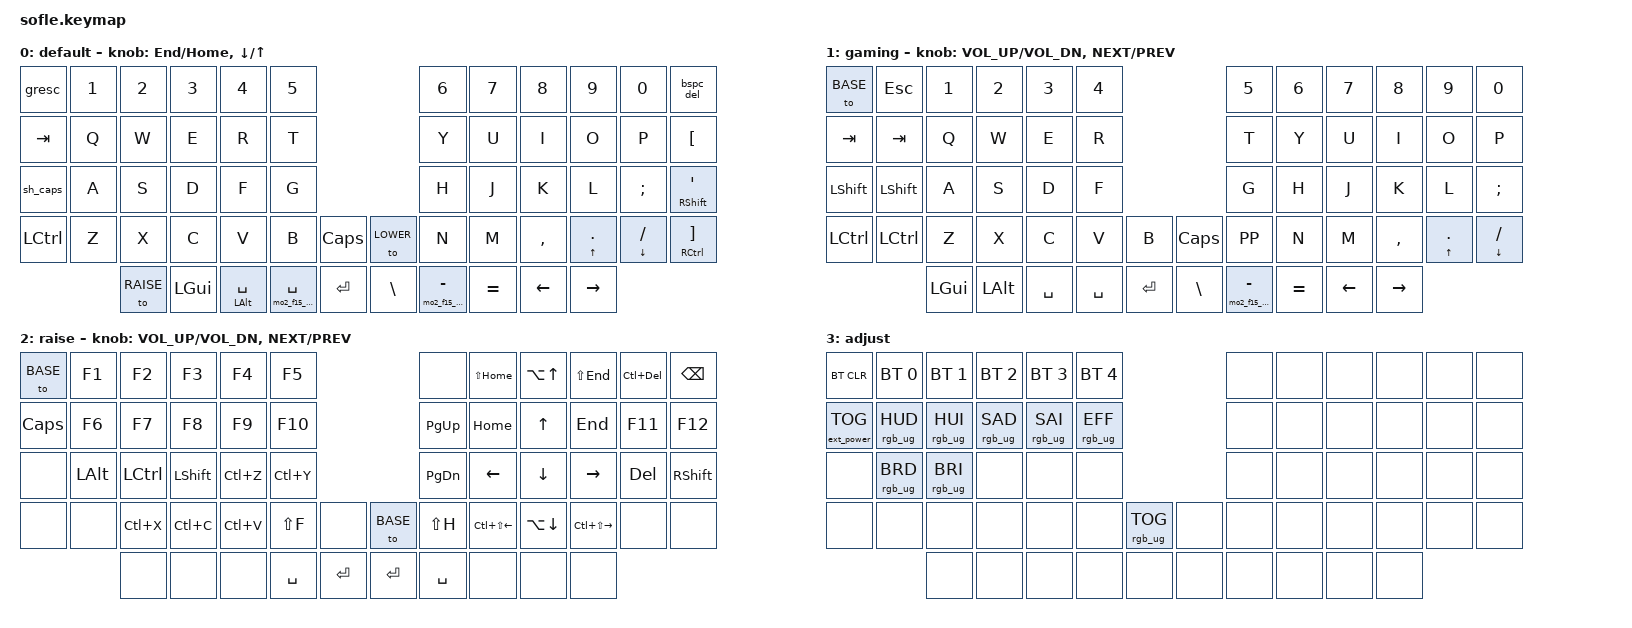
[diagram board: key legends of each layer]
/*
 * Copyright (c) 2020 The ZMK Contributors
 *
 * SPDX-License-Identifier: MIT
 */

#include <behaviors.dtsi>
#include <dt-bindings/zmk/bt.h>
#include <dt-bindings/zmk/ext_power.h>
#include <dt-bindings/zmk/keys.h>
#include <dt-bindings/zmk/rgb.h>

#define BASE 0
#define LOWER 1
#define RAISE 2
#define ADJUST 3

// Using layer taps on thumbs, having quick tap as well helps w/ repeating space/backspace
&lt { quick-tap-ms = <200>; };

// TODO: use &lt instead of lt1 space macro just to get mo and key press at same time
// The "layer-tap" behavior enables a layer when a key is held, and 
// outputs a key press when the key is only tapped for a short time.


/ {
    // Activate ADJUST layer by pressing raise and lower
    conditional_layers {
        compatible = "zmk,conditional-layers";

        adjust_layer {
            if-layers = <LOWER RAISE>;
            then-layer = <ADJUST>;
        };
    };

    macros {
        // used in a hold-tap behaviour below 
        // to send a normal key when tapped 
        // but sends this macro on hold
        mo1_f14_macro: mo1_f14_macro {
            compatible = "zmk,behavior-macro";
            #binding-cells = <0>;
            bindings = 
                <&macro_press &mo LOWER>,
                <&macro_press &kp F14>,
                <&macro_pause_for_release>,
                <&macro_release &kp F14>,
                <&macro_release &mo LOWER>;
            label = "MO1_F14";
        };

        mo2_f15_macro: mo2_f15_macro {
            compatible = "zmk,behavior-macro";
            #binding-cells = <0>;
            bindings = 
                <&macro_press &mo RAISE>,
                <&macro_press &kp F15>,
                <&macro_pause_for_release>,
                <&macro_release &kp F15>,
                <&macro_release &mo RAISE>;
            label = "MO2_F15";
        };


        mo1_f14_taponce: mo1_f14_taponce {
            compatible = "zmk,behavior-macro";
            #binding-cells = <0>;
            bindings = 
                <&macro_press &mo LOWER>,
                <&macro_tap &kp F14>,
                <&macro_pause_for_release>,
                <&macro_release &mo LOWER>,
                <&macro_tap &kp F14>;
            label = "MO1_F14_taponce";
        };

        mo2_f15_taponce: mo2_f15_taponce {
            compatible = "zmk,behavior-macro";
            #binding-cells = <0>;
            bindings = 
                <&macro_press &mo RAISE>,
                <&macro_tap &kp F15>,
                <&macro_pause_for_release>,
                <&macro_release &mo RAISE>,
                <&macro_tap &kp F15>;
            label = "MO2_F15_toggle";
        };
    };

    behaviors {
        lt1_sp: layer1_tap_space_macro {
            compatible = "zmk,behavior-hold-tap";
            label = "LT1_SPACE";
            #binding-cells = <2>;
            flavor = "tap-preferred";     // Prioritize tap for quick presses
            tapping-term-ms = <200>;      // 200ms threshold for tap vs. hold
            quick-tap-ms = <125>;         // Prevent hold on fast double-taps
            global-quick-tap;
            bindings = <&mo1_f14_macro>, <&kp>;  // Hold: macro, Tap: keypress
        };

        lt2_sp: layer2_tap_space_macro {
            compatible = "zmk,behavior-hold-tap";
            label = "LT2_SPACE";
            #binding-cells = <2>;
            flavor = "tap-preferred";
            tapping-term-ms = <200>;
            quick-tap-ms = <125>;
            global-quick-tap;
            bindings = <&mo2_f15_macro>, <&kp>;
        };
        
        // BACKSPACE by default but SHIFT+BACKSPACE=DELETE
        bspc_del: backspace_delete {
            compatible = "zmk,behavior-mod-morph";
            #binding-cells = <0>;
            bindings = <&kp BACKSPACE>, <&kp DELETE>;
            mods = <(MOD_LSFT|MOD_RSFT)>;
            keep-mods = <(MOD_RSFT)>;
        };
        
        // CAPSLOCK on a single tap, 
        // LSHIFT on a single press and hold, and 
        // LCTRL when the tap-dance is pressed twice.
        td_mt: tap_dance_mod_tap {
            compatible = "zmk,behavior-tap-dance";
            #binding-cells = <0>;
            tapping-term-ms = <200>;
            bindings = <&mt LSHIFT CAPSLOCK>, <&kp LCTRL>;
        };

        /*
        - tap: sticky shift
        - double-tap: caps-word (shift + tap mod-morph)
        - hold: shift

        From: https://github.com/urob/zmk-config/
        */
        smart_shift: smart_shift {
            compatible = "zmk,behavior-mod-morph";
            bindings = <&sk LSHFT>, <&caps_word>;
            mods = <(MOD_LSFT)>;
            #binding-cells = <0>;
        };

        // For the "layer" key, it'd nice to be able to use it as either a momentary or a toggle.
        // Configure it as a tap dance, so the first tap (or hold) is a &mo and the second tap is a &to
        layer_td: layer_td {
            compatible = "zmk,behavior-tap-dance";
            #binding-cells = <0>;
            tapping-term-ms = <200>;
            bindings = <&mo RAISE>, <&to RAISE>;
        };

        // Single tap or hold triggers lt2 space macro
        // double tap should permanently toggle RAISE layer
        ltd_lt2_sp: ltd_lt2_sp {
            label = "LTD_LT2_SPACE";
            compatible = "zmk,behavior-tap-dance";
            #binding-cells = <0>;
            tapping-term-ms = <200>;
            bindings = <&lt2_sp 0 SPACE>, <&to RAISE>;
        };

        // Single tap or hold triggers shift
        // double tap triggers caps
        sh_caps: shift_caps_td {
            label = "shift_caps_td";
            compatible = "zmk,behavior-tap-dance";
            #binding-cells = <0>;
            tapping-term-ms = <200>;
            bindings = <&kp LSHFT>, <&kp CAPS>;
        };

        hm: homerow_mods {
            compatible = "zmk,behavior-hold-tap";
            #binding-cells = <2>;
            tapping-term-ms = <200>;
            flavor = "tap-preferred";
            bindings = <&kp>, <&kp>;
        };

    };

    keymap {
        compatible = "zmk,keymap";

        default_layer {
            display-name = "default";

                // ----------------------------------------------------------------------------------------------------------------------------------------------------
                // | GRAVE/ESC  |  1  |  2  |  3  |  4  |  5   |                                            |   6   |   7   |  8   |   9   |  0      | BKSPC/DEL MACRO|
                // |MT CAPS/TAB |  Q  |  W  |  E  |  R  |  T   |                                            |   Y   |   U   |  I   |   O   |  P      |       [        |
                // | SK SHIFT   |  A  |  S  |  D  |  F  |  G   |                                            |   H   |   J   |  K   |   L   |  ;      | MT SHIFT '     |
                // |  CTRL      |  Z  |  X  |  C  |  V  |  B   | CAPS |                          |PLAY/PAUSE|   N   |   M   |  ,   |MT UP. |MT DOWN/ | MT CTRL ]      |
                //                 | RAISE | GUI | MT ALT/SPACE|LT2_SP|                          |   ENTER  |   \   |LT2 -_ |   =  | LEFT  | RIGHT   |
                // ----------------------------------------------------------------------------------------------------------------------------------------------------

            bindings = <
                &gresc       &kp N1  &kp N2    &kp N3        &kp N4        &kp N5                             &kp N6         &kp N7     &kp N8     &kp N9      &kp N0         &bspc_del
                &kp TAB      &kp Q   &kp W     &kp E         &kp R         &kp T                              &kp Y          &kp U      &kp I      &kp O       &kp P          &kp LBKT
                &sh_caps     &kp A   &kp S     &kp D         &kp F         &kp G                              &kp H          &kp J      &kp K      &kp L       &kp SEMI       &mt RSHFT SQT
                &kp LCTRL    &kp Z   &kp X     &kp C         &kp V         &kp B        &kp CAPS  &to LOWER    &kp N          &kp M      &kp COMMA  &mt UP DOT  &mt DOWN FSLH  &mt RCTRL RBKT
                                     &to RAISE &kp LGUI &mt LALT SPACE &lt2_sp 0 SPACE  &kp RET   &kp BSLH  &lt2_sp 0 MINUS  &kp EQUAL  &kp LEFT   &kp RIGHT
            >;

            sensor-bindings =
                <&inc_dec_kp END HOME>,
                <&inc_dec_kp DOWN UP>;      
        };

        lower_layer {
            display-name = "gaming";

                // ----------------------------------------------------------------------------------------------------------------------------------------------------
                //TL L0 | ESC  |  1  |  2  |  3  |  4  |  5   |                                            |   6   |   7   |  8   |   9   |  0      | BKSPC/DEL MACRO|
                // TAB  | TAB  |  Q  |  W  |  E  |  R  |  T   |                                            |   Y   |   U   |  I   |   O   |  P      |       [        |
                // LSHFT| LSHFT|  A  |  S  |  D  |  F  |  G   |                                            |   H   |   J   |  K   |   L   |  ;      | MT SHIFT '     |
                // LCTRL| LCTRL|  Z  |  X  |  C  |  V  |  B   | CAPS |                          |PLAY/PAUSE|   N   |   M   |  ,   |MT UP. |MT DOWN/ | MT CTRL ]      |
                //                  | GUI | ALT | SPACE|SPACE|     |   ENTER  |   \   |LT2 -_ |   =  | LEFT  | RIGHT   |
                // ----------------------------------------------------------------------------------------------------------------------------------------------------

            bindings = <
                &to BASE   &kp ESC      &kp N1  &kp N2    &kp N3        &kp N4        &kp N5                             &kp N6         &kp N7     &kp N8     &kp N9      &kp N0        
                &kp TAB    &kp TAB      &kp Q   &kp W     &kp E         &kp R         &kp T                              &kp Y          &kp U      &kp I      &kp O       &kp P         
                &kp LSHFT  &kp LSHFT    &kp A   &kp S     &kp D         &kp F         &kp G                              &kp H          &kp J      &kp K      &kp L       &kp SEMI      
                &kp LCTRL  &kp LCTRL    &kp Z   &kp X     &kp C         &kp V         &kp B        &kp CAPS  &kp K_PP    &kp N          &kp M      &kp COMMA  &mt UP DOT  &mt DOWN FSLH 
                            &kp LGUI &kp LALT  &kp SPACE &kp SPACE  &kp RET   &kp BSLH  &lt2_sp 0 MINUS  &kp EQUAL  &kp LEFT   &kp RIGHT
            >;

            sensor-bindings =
                <&inc_dec_kp C_VOL_UP C_VOL_DN>,
                <&inc_dec_kp K_NEXT K_PREV>;
                // <&inc_dec_kp TAB LS(TAB)>,
                // <&inc_dec_kp PG_UP PG_DN>;

        };

        raise_layer {
            display-name = "raise";

                // ------------------------------------------------------------------------------------------------------------------------------
                // | TL L0 |  F1  |  F2  |  F3   |  F4   |  F5  |                                |       |Sh home| alt up |SH END| CTDEL | BKSPC |
                // | CAPS  |  F6  |  F7  |  F8   |  F9   | F10  |                                | PGUP  | HOME  |   ^    |  END |  F11  |  F12  |
                // |       |  ALT | CTRL | SHIFT | UNDO  | REDO |                                | PGDN  |   <-  |   v    |  ->  |  DEL  | SHIFT |
                // |       |      | CUT  | COPY  | PASTE | FIND |      |                   |TL L0|REPLACE| CtSh<-|alt down|CtSh->|       |       |
                //                |      |       |       | SPACE| ENTER|                   |ENTER|SPACE  |       |        |       |      |
                // ------------------------------------------------------------------------------------------------------------------------------

            bindings = <
                &to BASE  &kp F1    &kp F2     &kp F3       &kp F4       &kp F5                        &none      &kp LS(HOME)      &kp LA(UP)    &kp LS(END)        &kp LC(DEL)   &kp BSPC
                &kp CAPS  &kp F6    &kp F7     &kp F8       &kp F9       &kp F10                       &kp PG_UP  &kp HOME          &kp UP        &kp END            &kp F11       &kp F12
                &none     &kp LALT  &kp LCTRL  &kp LSHFT    &kp LC(Z)    &kp LC(Y)                     &kp PG_DN  &kp LEFT          &kp DOWN      &kp RIGHT          &kp DEL       &kp RSHFT
                &none     &none     &kp LC(X)  &kp LC(C)    &kp LC(V)    &kp LS(F)  &none    &to BASE  &kp LS(H)  &kp LC(LS(LEFT))  &kp LA(DOWN)  &kp LC(LS(RIGHT))  &none         &none
                                    &none      &none        &none        &kp SPC    &kp RET  &kp RET   &kp SPC    &none             &none     &none
            >;

            sensor-bindings = 
                <&inc_dec_kp C_VOL_UP C_VOL_DN>,
                <&inc_dec_kp K_NEXT K_PREV>;
        };

        adjust_layer {
            // ----------------------------------------------------------------------------------------------------------------------------
            // | BTCLR  |  BT1    |  BT2    |   BT3   |   BT4   |   BT5   |                  |      |      |       |      |       |       |
            // | EXTPWR | RGB_HUD | RGB_HUI | RGB_SAD | RGB_SAI | RGB_EFF |                  |      |      |       |      |       |       |
            // |        | RGB_BRD | RGB_BRI |         |         |         |                  |      |      |       |      |       |       |
            // |        |         |         |         |         |         | RGB_TOG | |      |      |      |       |      |       |       |
            //                    |         |         |         |         |         | |      |      |      |       |      |

            display-name = "adjust";
            bindings = <
                &bt BT_CLR         &bt BT_SEL 0     &bt BT_SEL 1     &bt BT_SEL 2     &bt BT_SEL 3     &bt BT_SEL 4                               &none  &none  &none  &none  &none  &none
                &ext_power EP_TOG  &rgb_ug RGB_HUD  &rgb_ug RGB_HUI  &rgb_ug RGB_SAD  &rgb_ug RGB_SAI  &rgb_ug RGB_EFF                            &none  &none  &none  &none  &none  &none
                &none              &rgb_ug RGB_BRD  &rgb_ug RGB_BRI  &none            &none            &none                                      &none  &none  &none  &none  &none  &none
                &none              &none            &none            &none            &none            &none            &rgb_ug RGB_TOG    &none  &none  &none  &none  &none  &none  &none
                                                    &none            &none            &none            &none            &none              &none  &none  &none  &none  &none
            >;
        };

        extra1 { status = "reserved"; };

        extra2 { status = "reserved"; };
    };
};
